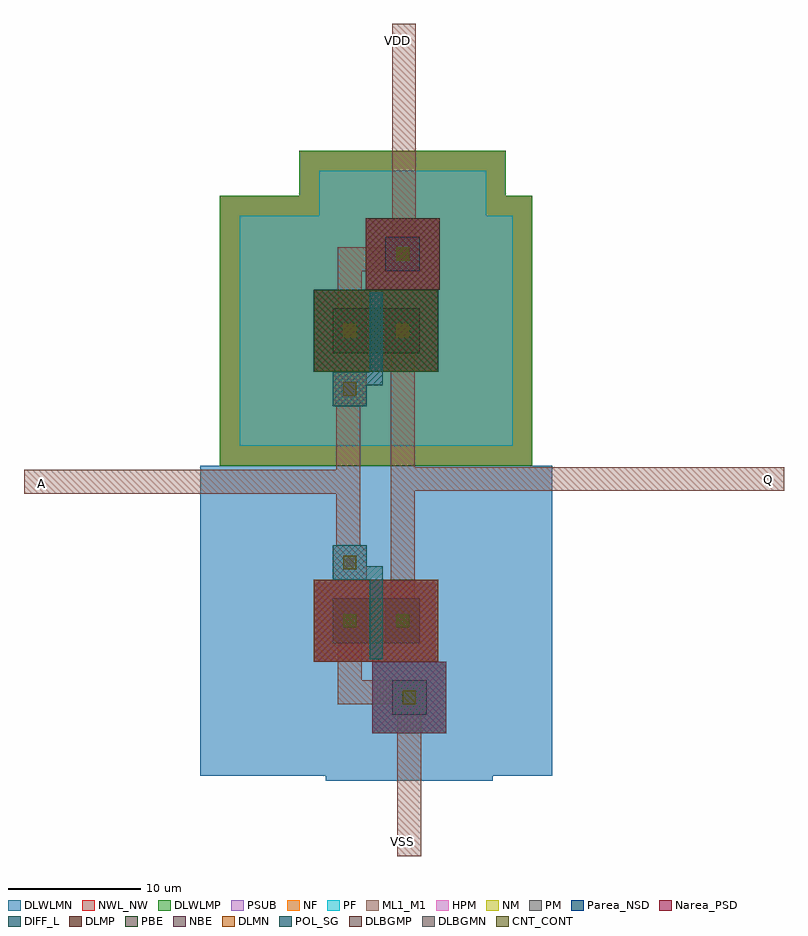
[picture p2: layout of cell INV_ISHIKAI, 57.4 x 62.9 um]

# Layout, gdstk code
import gdstk
lib = gdstk.Library(unit=1e-6, precision=1e-07)
def R(c, l, rs):  # rectangles x0, y0, x1, y1
    for r in rs: c.add(gdstk.rectangle(r[:2], r[2:], *l))
DIFF_L = (3, 0)
NM = (7, 0)
POL_SG = (8, 0)
Narea_PSD = (9, 0)
CNT_CONT = (11, 0)
ML1_M1 = (13, 0)
NF = (25, 0)
PF = (26, 0)
Parea_NSD = (28, 0)
HPM = (33, 0)
PM = (35, 0)
NWL_NW = (36, 0)
PSUB = (140, 0)
PBE = (146, 0)
NBE = (147, 0)
DLWLMP = (150, 0)
DLWLMN = (151, 0)
DLMP = (157, 0)
DLMN = (158, 0)
DLBGMP = (177, 0)
DLBGMN = (178, 0)

dcont_6 = lib.new_cell('dcont$6')
R(dcont_6, DIFF_L, [(-1.3,-1.3,1.3,1.3)])
R(dcont_6, CNT_CONT, [(-0.5,-0.5,0.5,0.5)])
R(dcont_6, ML1_M1, [(-1.3,-1.3,1.3,1.3), (-0.5,-0.5,0.5,0.5)])

pcont_6 = lib.new_cell('pcont$6')
R(pcont_6, POL_SG, [(-1.3,-1.3,1.3,1.3)])
R(pcont_6, CNT_CONT, [(-0.5,-0.5,0.5,0.5)])
R(pcont_6, ML1_M1, [(-1.3,-1.3,1.3,1.3), (-0.5,-0.5,0.5,0.5)])

c_dcont_6 = lib.new_cell('DCONT$6')
R(c_dcont_6, DIFF_L, [(-1.3,-1.3,1.3,1.3)])
R(c_dcont_6, CNT_CONT, [(-0.5,-0.5,0.5,0.5)])
R(c_dcont_6, ML1_M1, [(-1.3,-1.3,1.3,1.3), (-0.5,-0.5,0.5,0.5)])

nsubcont_6 = lib.new_cell('nsubcont$6')
R(nsubcont_6, NM, [(-2.8,-2.7,2.8,2.7)])
R(nsubcont_6, Narea_PSD, [(-2.8,-2.7,2.8,2.7)])
R(nsubcont_6, NF, [(-6.3,-6.3,6.3,6.3)])
R(nsubcont_6, PF, [(-6.3,-6.3,6.3,6.3)])
R(nsubcont_6, HPM, [(-2.8,-2.7,2.8,2.7)])
R(nsubcont_6, PM, [(-2.8,-2.7,2.8,2.7)])
R(nsubcont_6, NWL_NW, [(-7.8,-7.8,7.8,7.8)])
R(nsubcont_6, PSUB, [(-6.3,-6.3,6.3,6.3)])
R(nsubcont_6, DLWLMP, [(-7.8,-7.8,7.8,7.8)])
R(nsubcont_6, DLBGMP, [(-2.8,-2.7,2.8,2.7)])
nsubcont_6.add(gdstk.Reference(c_dcont_6, (0,0)))

mp_1_3 = lib.new_cell('MP$1$3')
R(mp_1_3, DIFF_L, [(0,3.6,6.6,7)])
R(mp_1_3, NM, [(-1.4,2.2,8,8.4)])
R(mp_1_3, NF, [(-7,-3.4,13.6,14)])
R(mp_1_3, PF, [(-7,-3.4,13.6,14)])
R(mp_1_3, Parea_NSD, [(-1.4,2.2,8,8.4)])
R(mp_1_3, HPM, [(-1.4,2.2,8,8.4)])
R(mp_1_3, NWL_NW, [(-8.5,-4.9,15.1,15.5)])
R(mp_1_3, PSUB, [(-7,-3.4,13.6,14)])
R(mp_1_3, PBE, [(-1.4,2.2,8,8.4)])
R(mp_1_3, DLWLMP, [(-8.5,-4.9,15.1,15.5)])
R(mp_1_3, DLMP, [(-1.4,2.2,8,8.4)])
mp_1_3.add(gdstk.FlexPath([(1.3,3.6),(1.3,7)], 2.6, ends="flush", simple_path=True, layer=13, datatype=0))  # ML1_M1
mp_1_3.add(gdstk.FlexPath([(5.3,3.6),(5.3,7)], 2.6, ends="flush", simple_path=True, layer=13, datatype=0))  # ML1_M1
mp_1_3.add(gdstk.FlexPath([(1.3,6),(1.3,9.3)], 1.8, ends="flush", simple_path=True, layer=13, datatype=0))  # ML1_M1
mp_1_3.add(gdstk.FlexPath([(5.3,1.3),(5.3,4.6)], 1.8, ends="flush", simple_path=True, layer=13, datatype=0))  # ML1_M1
mp_1_3.add(gdstk.FlexPath([(3.3,3.6),(3.3,7)], 1, ends=(1.2, 1.2), simple_path=True, layer=8, datatype=0))  # POL_SG
mp_1_3.add(gdstk.FlexPath([(1.3,1.7),(3.3,1.7),(3.3,2.4)], 1, ends="flush", simple_path=True, layer=8, datatype=0))  # POL_SG
mp_1_3.add(gdstk.Reference(dcont_6, (1.3,5.3)))
mp_1_3.add(gdstk.Reference(dcont_6, (5.3,5.3)))
mp_1_3.add(gdstk.Reference(pcont_6, (1.3,0.9)))
mp_1_3.add(gdstk.Reference(nsubcont_6, (5.3,11.1)))

psubcont_6 = lib.new_cell('psubcont$6')
R(psubcont_6, NM, [(-2.8,-2.7,2.8,2.7)])
R(psubcont_6, Parea_NSD, [(-2.8,-2.7,2.8,2.7)])
R(psubcont_6, HPM, [(-2.8,-2.7,2.8,2.7)])
R(psubcont_6, PM, [(-2.8,-2.7,2.8,2.7)])
R(psubcont_6, DLWLMN, [(-6.3,-6.3,6.3,6.3)])
R(psubcont_6, DLBGMN, [(-2.8,-2.7,2.8,2.7)])
psubcont_6.add(gdstk.Reference(c_dcont_6, (0,0)))

mn_1_5 = lib.new_cell('MN$1$5')
R(mn_1_5, DIFF_L, [(0,3.6,6.6,7)])
R(mn_1_5, Narea_PSD, [(-1.4,2.2,8,8.4)])
R(mn_1_5, HPM, [(-1.4,2.2,8,8.4)])
R(mn_1_5, PM, [(-1.4,2.2,8,8.4)])
R(mn_1_5, NBE, [(-1.4,2.2,8,8.4)])
R(mn_1_5, DLWLMN, [(-10,-6.4,16.6,17)])
R(mn_1_5, DLMN, [(-1.4,2.2,8,8.4)])
mn_1_5.add(gdstk.FlexPath([(1.3,3.6),(1.3,7)], 2.6, ends="flush", simple_path=True, layer=13, datatype=0))  # ML1_M1
mn_1_5.add(gdstk.FlexPath([(5.3,3.6),(5.3,7)], 2.6, ends="flush", simple_path=True, layer=13, datatype=0))  # ML1_M1
mn_1_5.add(gdstk.FlexPath([(1.3,1.3),(1.3,4.6)], 1.8, ends="flush", simple_path=True, layer=13, datatype=0))  # ML1_M1
mn_1_5.add(gdstk.FlexPath([(5.3,6),(5.3,9.3)], 1.8, ends="flush", simple_path=True, layer=13, datatype=0))  # ML1_M1
mn_1_5.add(gdstk.FlexPath([(3.3,3.6),(3.3,7)], 1, ends=(1.2, 1.2), simple_path=True, layer=8, datatype=0))  # POL_SG
mn_1_5.add(gdstk.FlexPath([(1.3,8.9),(3.3,8.9),(3.3,8.2)], 1, ends="flush", simple_path=True, layer=8, datatype=0))  # POL_SG
mn_1_5.add(gdstk.Reference(dcont_6, (1.3,5.3)))
mn_1_5.add(gdstk.Reference(dcont_6, (5.3,5.3)))
mn_1_5.add(gdstk.Reference(pcont_6, (1.3,9.7)))
mn_1_5.add(gdstk.Reference(psubcont_6, (5.8,-0.5)))

inv_ishikai = lib.new_cell('INV_ISHIKAI')
inv_ishikai.add(gdstk.FlexPath([(5.3,-5.5),(34.1,-5.5)], 1.8, ends="flush", simple_path=True, layer=13, datatype=0))  # ML1_M1
inv_ishikai.add(gdstk.FlexPath([(1.2,1.3),(1.2,-12.2)], 1.8, ends="flush", simple_path=True, layer=13, datatype=0))  # ML1_M1
inv_ishikai.add(gdstk.FlexPath([(5.3,2.1),(5.3,-12.8)], 1.8, ends="flush", simple_path=True, layer=13, datatype=0))  # ML1_M1
inv_ishikai.add(gdstk.FlexPath([(1.3,9.4),(1.3,11.1),(6.2,11.1)], 1.8, ends="flush", simple_path=True, layer=13, datatype=0))  # ML1_M1
inv_ishikai.add(gdstk.FlexPath([(5.4,11.1),(5.4,28.9)], 1.8, ends="flush", simple_path=True, layer=13, datatype=0))  # ML1_M1
inv_ishikai.add(gdstk.FlexPath([(1.2,-5.7),(-23.3,-5.7)], 1.8, ends="flush", simple_path=True, layer=13, datatype=0))  # ML1_M1
inv_ishikai.add(gdstk.FlexPath([(1.3,-19.9),(1.3,-21.6),(5.8,-21.6)], 1.8, ends="flush", simple_path=True, layer=13, datatype=0))  # ML1_M1
inv_ishikai.add(gdstk.FlexPath([(5.8,-21.7),(5.8,-34)], 1.8, ends="flush", simple_path=True, layer=13, datatype=0))  # ML1_M1
inv_ishikai.add(gdstk.Reference(mp_1_3, (0,0.4)))
inv_ishikai.add(gdstk.Reference(mn_1_5, (0,-21.5)))
inv_ishikai.add(gdstk.Label('Q', (32.9,-5.5), layer=13, texttype=0))
inv_ishikai.add(gdstk.Label('A', (-22,-5.8), layer=13, texttype=0))
inv_ishikai.add(gdstk.Label('VDD', (4.9,27.6), layer=13, texttype=0))
inv_ishikai.add(gdstk.Label('VSS', (5.3,-32.9), layer=13, texttype=0))

lib.write_gds('INV_ISHIKAI.gds')
